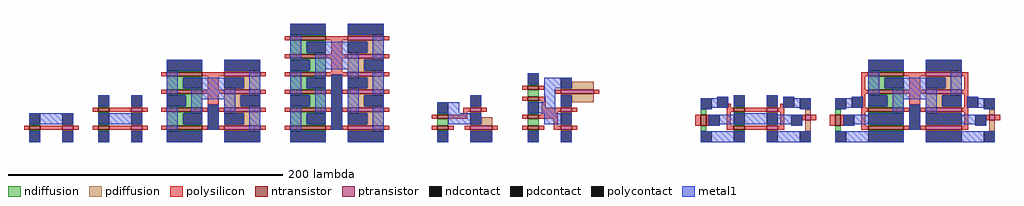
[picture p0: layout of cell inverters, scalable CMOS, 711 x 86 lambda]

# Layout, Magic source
magic
tech scmos
use s_inv s_inv_0
transform 1 0 -105 0 1 -413
box 63 428 105 449
use m_inv m_inv_0
transform 1 0 -83 0 1 -530
box 90 545 134 579
use l_inv l_inv_0
transform 1 0 -338 0 1 -470
box 396 484 474 546
use h_inv h_inv_0
transform 1 0 96 0 1 15
box 52 -1 130 87
use s_inv_rhi s_inv_rhi_0
transform 1 0 276 0 1 -21
box -21 36 28 70
use m_inv_rhi m_inv_rhi_0
transform 1 0 221 0 1 8
box 99 7 157 57
use m_inv_staticizer m_inv_staticizer_0
transform 1 0 372 0 1 -53
box 75 67 165 103
use l_inv_staticizer l_inv_staticizer_0
transform 1 0 461 0 1 -47
box 84 61 210 123
<< end >>

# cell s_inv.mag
magic
tech scmos
<< ndiffusion >>
rect 68 440 76 441
rect 68 436 76 437
<< pdiffusion >>
rect 92 440 100 441
rect 92 436 100 437
<< ntransistor >>
rect 68 437 76 440
<< ptransistor >>
rect 92 437 100 440
<< polysilicon >>
rect 64 437 68 440
rect 76 437 92 440
rect 100 437 104 440
<< ndcontact >>
rect 68 441 76 449
rect 68 428 76 436
<< pdcontact >>
rect 92 441 100 449
rect 92 428 100 436
<< metal1 >>
rect 68 441 100 449
rect 68 428 76 436
rect 92 428 100 436
<< labels >>
rlabel polysilicon 101 439 101 439 7 a
rlabel polysilicon 67 439 67 439 3 a
rlabel ndcontact 72 432 72 432 2 GND!
rlabel pdcontact 96 432 96 432 8 Vdd!
rlabel pdcontact 96 445 96 445 6 x
rlabel ndcontact 72 445 72 445 4 x
rlabel space 63 428 68 449 7 ^n
rlabel space 100 428 105 449 3 ^p
<< end >>

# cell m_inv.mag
magic
tech scmos
<< ndiffusion >>
rect 96 570 104 571
rect 96 566 104 567
rect 96 557 104 558
rect 96 553 104 554
<< pdiffusion >>
rect 120 570 128 571
rect 120 566 128 567
rect 120 557 128 558
rect 120 553 128 554
<< ntransistor >>
rect 96 567 104 570
rect 96 554 104 557
<< ptransistor >>
rect 120 567 128 570
rect 120 554 128 557
<< polysilicon >>
rect 92 567 96 570
rect 104 567 120 570
rect 128 567 132 570
rect 92 554 96 557
rect 104 554 120 557
rect 128 554 132 557
<< ndcontact >>
rect 96 571 104 579
rect 96 558 104 566
rect 96 545 104 553
<< pdcontact >>
rect 120 571 128 579
rect 120 558 128 566
rect 120 545 128 553
<< metal1 >>
rect 96 571 104 579
rect 120 571 128 579
rect 96 558 128 566
rect 96 545 104 553
rect 120 545 128 553
<< labels >>
rlabel ndcontact 100 562 100 562 1 x
rlabel pdcontact 124 562 124 562 1 x
rlabel polysilicon 129 568 129 568 7 a
rlabel polysilicon 129 556 129 556 7 a
rlabel ndcontact 100 549 100 549 1 GND!
rlabel pdcontact 124 549 124 549 1 Vdd!
rlabel pdcontact 124 575 124 575 5 Vdd!
rlabel ndcontact 100 575 100 575 5 GND!
rlabel space 90 545 96 579 7 ^n
rlabel space 128 545 134 579 3 ^p
rlabel polysilicon 95 568 95 568 3 a
rlabel polysilicon 95 555 95 555 3 a
<< end >>

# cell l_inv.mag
magic
tech scmos
<< ndiffusion >>
rect 401 536 427 537
rect 401 532 427 533
rect 401 524 413 532
rect 401 523 427 524
rect 401 519 427 520
rect 415 511 427 519
rect 401 510 427 511
rect 401 506 427 507
rect 401 498 413 506
rect 401 497 427 498
rect 401 493 427 494
<< pdiffusion >>
rect 443 536 469 537
rect 443 532 469 533
rect 457 524 469 532
rect 443 523 469 524
rect 443 519 469 520
rect 443 511 455 519
rect 443 510 469 511
rect 443 506 469 507
rect 457 498 469 506
rect 443 497 469 498
rect 443 493 469 494
<< ntransistor >>
rect 401 533 427 536
rect 401 520 427 523
rect 401 507 427 510
rect 401 494 427 497
<< ptransistor >>
rect 443 533 469 536
rect 443 520 469 523
rect 443 507 469 510
rect 443 494 469 497
<< polysilicon >>
rect 397 533 401 536
rect 427 533 443 536
rect 469 533 473 536
rect 431 523 439 533
rect 397 520 401 523
rect 427 520 443 523
rect 469 520 473 523
rect 431 512 439 520
rect 397 507 401 510
rect 427 507 431 510
rect 397 494 401 497
rect 427 494 431 497
rect 439 507 443 510
rect 469 507 473 510
rect 439 494 443 497
rect 469 494 473 497
<< ndcontact >>
rect 401 537 427 545
rect 413 524 427 532
rect 401 511 415 519
rect 413 498 427 506
rect 401 485 427 493
<< pdcontact >>
rect 443 537 469 545
rect 443 524 457 532
rect 455 511 469 519
rect 443 498 457 506
rect 443 485 469 493
<< polycontact >>
rect 431 494 439 512
<< metal1 >>
rect 401 537 427 545
rect 443 537 469 545
rect 401 519 409 537
rect 413 524 457 532
rect 401 511 415 519
rect 419 516 451 524
rect 461 519 469 537
rect 401 493 409 511
rect 419 506 427 516
rect 413 498 427 506
rect 431 494 439 512
rect 443 506 451 516
rect 455 511 469 519
rect 443 498 457 506
rect 461 493 469 511
rect 401 485 427 493
rect 443 485 469 493
<< labels >>
rlabel ndcontact 408 489 408 489 1 GND!
rlabel ndcontact 408 515 408 515 5 GND!
rlabel ndcontact 408 541 408 541 5 GND!
rlabel ndcontact 420 528 420 528 1 x
rlabel ndcontact 420 502 420 502 1 x
rlabel pdcontact 451 528 451 528 1 x
rlabel pdcontact 451 502 451 502 1 x
rlabel pdcontact 461 489 461 489 1 Vdd!
rlabel pdcontact 461 515 461 515 5 Vdd!
rlabel pdcontact 461 541 461 541 5 Vdd!
rlabel space 396 484 414 546 7 ^n
rlabel space 456 484 474 546 3 ^p
rlabel metal1 435 503 435 503 1 a
<< end >>

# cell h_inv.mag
magic
tech scmos
<< ndiffusion >>
rect 57 77 83 78
rect 57 73 83 74
rect 57 65 69 73
rect 57 64 83 65
rect 57 60 83 61
rect 71 52 83 60
rect 57 51 83 52
rect 57 47 83 48
rect 57 39 69 47
rect 57 38 83 39
rect 57 34 83 35
rect 71 26 83 34
rect 57 25 83 26
rect 57 21 83 22
rect 57 13 69 21
rect 57 12 83 13
rect 57 8 83 9
<< pdiffusion >>
rect 99 77 125 78
rect 99 73 125 74
rect 113 65 125 73
rect 99 64 125 65
rect 99 60 125 61
rect 99 52 111 60
rect 99 51 125 52
rect 99 47 125 48
rect 113 39 125 47
rect 99 38 125 39
rect 99 34 125 35
rect 99 26 111 34
rect 99 25 125 26
rect 99 21 125 22
rect 113 13 125 21
rect 99 12 125 13
rect 99 8 125 9
<< ntransistor >>
rect 57 74 83 77
rect 57 61 83 64
rect 57 48 83 51
rect 57 35 83 38
rect 57 22 83 25
rect 57 9 83 12
<< ptransistor >>
rect 99 74 125 77
rect 99 61 125 64
rect 99 48 125 51
rect 99 35 125 38
rect 99 22 125 25
rect 99 9 125 12
<< polysilicon >>
rect 53 74 57 77
rect 83 74 99 77
rect 125 74 129 77
rect 87 64 95 74
rect 53 61 57 64
rect 83 61 99 64
rect 125 61 129 64
rect 87 51 95 61
rect 53 48 57 51
rect 83 49 99 51
rect 83 48 87 49
rect 53 35 57 38
rect 83 35 87 38
rect 53 22 57 25
rect 83 22 87 25
rect 53 9 57 12
rect 83 9 87 12
rect 95 48 99 49
rect 125 48 129 51
rect 95 35 99 38
rect 125 35 129 38
rect 95 22 99 25
rect 125 22 129 25
rect 95 9 99 12
rect 125 9 129 12
<< ndcontact >>
rect 57 78 83 86
rect 69 65 83 73
rect 57 52 71 60
rect 69 39 83 47
rect 57 26 71 34
rect 69 13 83 21
rect 57 0 83 8
<< pdcontact >>
rect 99 78 125 86
rect 99 65 113 73
rect 111 52 125 60
rect 99 39 113 47
rect 111 26 125 34
rect 99 13 113 21
rect 99 0 125 8
<< polycontact >>
rect 87 9 95 49
<< metal1 >>
rect 57 78 83 86
rect 99 78 125 86
rect 57 60 65 78
rect 69 65 113 73
rect 57 52 71 60
rect 75 53 107 65
rect 117 60 125 78
rect 57 34 65 52
rect 75 47 83 53
rect 69 39 83 47
rect 57 26 71 34
rect 57 8 65 26
rect 75 21 83 39
rect 69 13 83 21
rect 87 9 95 49
rect 99 47 107 53
rect 111 52 125 60
rect 99 39 113 47
rect 99 21 107 39
rect 117 34 125 52
rect 111 26 125 34
rect 99 13 113 21
rect 117 8 125 26
rect 57 0 83 8
rect 99 0 125 8
<< labels >>
rlabel ndcontact 75 43 75 43 1 x
rlabel ndcontact 75 17 75 17 1 x
rlabel ndcontact 75 69 75 69 1 x
rlabel ndcontact 65 30 65 30 5 GND!
rlabel ndcontact 65 56 65 56 5 GND!
rlabel ndcontact 65 82 65 82 5 GND!
rlabel ndcontact 65 4 65 4 1 GND!
rlabel space 52 -1 70 87 7 ^n
rlabel pdcontact 107 43 107 43 1 x
rlabel pdcontact 107 17 107 17 1 x
rlabel pdcontact 107 69 107 69 1 x
rlabel pdcontact 117 4 117 4 1 Vdd!
rlabel pdcontact 117 30 117 30 5 Vdd!
rlabel pdcontact 117 56 117 56 5 Vdd!
rlabel pdcontact 117 82 117 82 5 Vdd!
rlabel space 112 -1 130 87 3 ^p
rlabel metal1 91 29 91 29 1 a
<< end >>

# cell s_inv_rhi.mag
magic
tech scmos
<< ndiffusion >>
rect -16 56 -8 57
rect -16 48 -8 53
rect -16 44 -8 45
<< pdiffusion >>
rect 8 61 16 62
rect 8 57 16 58
rect 16 49 24 54
rect 8 48 24 49
rect 8 44 24 45
<< ntransistor >>
rect -16 53 -8 56
rect -16 45 -8 48
<< ptransistor >>
rect 8 58 16 61
rect 8 45 24 48
<< polysilicon >>
rect 3 58 8 61
rect 16 58 20 61
rect 3 56 6 58
rect -20 53 -16 56
rect -8 53 6 56
rect -20 45 -16 48
rect -8 45 -4 48
rect 4 45 8 48
rect 24 45 28 48
<< ndcontact >>
rect -16 57 -8 65
rect -16 36 -8 44
<< pdcontact >>
rect 8 62 16 70
rect 8 49 16 57
rect 8 36 24 44
<< metal1 >>
rect -16 57 0 65
rect 8 62 16 70
rect -8 49 16 57
rect -16 36 -8 44
rect 8 36 24 44
<< labels >>
rlabel pdcontact 12 40 12 40 5 Vdd!
rlabel ndcontact -12 61 -12 61 4 x
rlabel ndcontact -12 40 -12 40 5 GND!
rlabel space -21 36 -16 65 7 ^n
rlabel polysilicon 17 60 17 60 7 a
rlabel pdcontact 12 66 12 66 5 Vdd!
rlabel pdcontact 12 53 12 53 7 x
rlabel polysilicon -17 54 -17 54 3 a
rlabel polysilicon -17 46 -17 46 3 _SReset!
rlabel polysilicon 25 46 25 46 1 _PReset!
rlabel space 16 56 21 70 3 ^p
<< end >>

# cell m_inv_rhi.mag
magic
tech scmos
<< ndiffusion >>
rect 105 48 113 49
rect 105 40 113 45
rect 105 36 113 37
rect 105 27 113 28
rect 105 19 113 24
rect 105 15 113 16
<< pdiffusion >>
rect 137 46 153 51
rect 129 45 153 46
rect 129 41 153 42
rect 137 36 153 41
rect 129 32 137 33
rect 129 28 137 29
rect 129 19 137 20
rect 129 15 137 16
<< ntransistor >>
rect 105 45 113 48
rect 105 37 113 40
rect 105 24 113 27
rect 105 16 113 19
<< ptransistor >>
rect 129 42 153 45
rect 129 29 137 32
rect 129 16 137 19
<< polysilicon >>
rect 101 45 105 48
rect 113 45 117 48
rect 125 42 129 45
rect 153 42 157 45
rect 101 37 105 40
rect 113 37 118 40
rect 115 32 118 37
rect 115 29 129 32
rect 137 29 141 32
rect 115 27 127 29
rect 101 24 105 27
rect 113 24 127 27
rect 124 19 127 24
rect 101 16 105 19
rect 113 16 117 19
rect 124 16 129 19
rect 137 16 141 19
<< ndcontact >>
rect 105 49 113 57
rect 105 28 113 36
rect 105 7 113 15
<< pdcontact >>
rect 129 46 137 54
rect 129 33 137 41
rect 129 20 137 28
rect 129 7 137 15
<< metal1 >>
rect 105 49 113 57
rect 117 46 137 54
rect 117 36 125 46
rect 105 28 125 36
rect 129 33 137 41
rect 117 20 137 28
rect 105 7 113 15
rect 129 7 137 15
<< labels >>
rlabel polysilicon 104 17 104 17 3 _SReset!
rlabel polysilicon 104 47 104 47 3 _SReset!
rlabel ndcontact 109 32 109 32 1 x
rlabel ndcontact 109 53 109 53 5 GND!
rlabel ndcontact 109 11 109 11 1 GND!
rlabel polysilicon 104 25 104 25 3 a
rlabel pdcontact 133 24 133 24 1 x
rlabel space 99 7 105 57 7 ^n
rlabel pdcontact 133 50 133 50 5 x
rlabel polysilicon 138 31 138 31 7 a
rlabel pdcontact 132 11 132 11 1 Vdd!
rlabel pdcontact 133 37 133 37 5 Vdd!
rlabel polysilicon 104 38 104 38 3 a
rlabel polysilicon 138 17 138 17 3 a
rlabel space 137 7 142 34 3 ^p
rlabel polysilicon 154 43 154 43 1 _PReset!
<< end >>

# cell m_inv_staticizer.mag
magic
tech scmos
<< ndiffusion >>
rect 104 93 112 94
rect 80 88 84 92
rect 104 89 112 90
rect 104 80 112 81
rect 80 76 84 80
rect 104 76 112 77
<< pdiffusion >>
rect 128 93 136 94
rect 128 89 136 90
rect 128 80 136 81
rect 156 88 160 92
rect 128 76 136 77
rect 156 76 160 84
<< ntransistor >>
rect 104 90 112 93
rect 80 80 84 88
rect 104 77 112 80
<< ptransistor >>
rect 128 90 136 93
rect 156 84 160 88
rect 128 77 136 80
<< polysilicon >>
rect 100 93 102 96
rect 138 93 140 96
rect 99 90 104 93
rect 112 90 128 93
rect 136 90 141 93
rect 76 80 80 88
rect 84 80 86 88
rect 99 80 102 90
rect 138 80 141 90
rect 154 84 156 88
rect 160 84 164 88
rect 99 77 104 80
rect 112 77 128 80
rect 136 77 141 80
<< ndcontact >>
rect 80 92 88 100
rect 104 94 112 102
rect 104 81 112 89
rect 80 68 88 76
rect 104 68 112 76
<< pdcontact >>
rect 128 94 136 102
rect 152 92 160 100
rect 128 81 136 89
rect 128 68 136 76
rect 152 68 160 76
<< polycontact >>
rect 92 93 100 101
rect 140 93 148 101
rect 86 80 94 88
rect 146 80 154 88
<< metal1 >>
rect 92 100 100 101
rect 80 93 100 100
rect 104 94 112 102
rect 128 94 136 102
rect 140 100 148 101
rect 140 93 160 100
rect 80 92 88 93
rect 152 92 160 93
rect 104 88 136 89
rect 86 81 154 88
rect 86 80 94 81
rect 146 80 154 81
rect 80 68 112 76
rect 128 68 160 76
<< labels >>
rlabel ndcontact 108 85 108 85 1 x
rlabel pdcontact 132 85 132 85 1 x
rlabel ndcontact 108 72 108 72 1 GND!
rlabel pdcontact 132 72 132 72 1 Vdd!
rlabel pdcontact 132 98 132 98 5 Vdd!
rlabel ndcontact 108 98 108 98 5 GND!
rlabel metal1 84 72 84 72 1 GND!
rlabel metal1 156 72 156 72 1 Vdd!
rlabel space 75 67 105 103 7 ^n
rlabel space 135 67 165 103 3 ^p
rlabel metal1 144 97 144 97 5 _x
rlabel metal1 96 97 96 97 5 _x
<< end >>

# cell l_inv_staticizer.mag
magic
tech scmos
<< ndiffusion >>
rect 113 113 139 114
rect 113 109 139 110
rect 113 101 125 109
rect 113 100 139 101
rect 113 96 139 97
rect 127 88 139 96
rect 113 87 139 88
rect 89 82 93 86
rect 113 83 139 84
rect 113 74 139 75
rect 89 70 93 74
rect 113 70 139 71
<< pdiffusion >>
rect 155 113 181 114
rect 155 109 181 110
rect 169 101 181 109
rect 155 100 181 101
rect 155 96 181 97
rect 155 88 167 96
rect 155 87 181 88
rect 155 83 181 84
rect 155 74 181 75
rect 201 82 205 86
rect 155 70 181 71
rect 201 70 205 78
<< ntransistor >>
rect 113 110 139 113
rect 113 97 139 100
rect 113 84 139 87
rect 89 74 93 82
rect 113 71 139 74
<< ptransistor >>
rect 155 110 181 113
rect 155 97 181 100
rect 155 84 181 87
rect 201 78 205 82
rect 155 71 181 74
<< polysilicon >>
rect 108 110 113 113
rect 139 110 155 113
rect 181 110 186 113
rect 108 100 111 110
rect 143 100 151 110
rect 183 100 186 110
rect 108 97 113 100
rect 139 97 155 100
rect 181 97 186 100
rect 108 95 111 97
rect 109 87 111 95
rect 143 89 151 97
rect 108 84 113 87
rect 139 84 143 87
rect 85 74 89 82
rect 93 74 95 82
rect 108 74 111 84
rect 108 71 113 74
rect 139 71 143 74
rect 183 95 186 97
rect 183 87 185 95
rect 151 84 155 87
rect 181 84 186 87
rect 183 74 186 84
rect 199 78 201 82
rect 205 78 209 82
rect 151 71 155 74
rect 181 71 186 74
<< ndcontact >>
rect 113 114 139 122
rect 125 101 139 109
rect 89 86 97 94
rect 113 88 127 96
rect 113 75 139 83
rect 89 62 97 70
rect 113 62 139 70
<< pdcontact >>
rect 155 114 181 122
rect 155 101 169 109
rect 167 88 181 96
rect 197 86 205 94
rect 155 75 181 83
rect 155 62 181 70
rect 197 62 205 70
<< polycontact >>
rect 101 87 109 95
rect 95 74 103 82
rect 143 71 151 89
rect 185 87 193 95
rect 191 74 199 82
<< metal1 >>
rect 113 114 139 122
rect 155 114 181 122
rect 113 96 121 114
rect 125 101 169 109
rect 101 94 109 95
rect 89 87 109 94
rect 113 88 127 96
rect 131 93 163 101
rect 173 96 181 114
rect 89 86 97 87
rect 131 83 139 93
rect 113 82 139 83
rect 95 75 139 82
rect 95 74 103 75
rect 143 71 151 89
rect 155 83 163 93
rect 167 88 181 96
rect 185 94 193 95
rect 185 87 205 94
rect 197 86 205 87
rect 155 82 181 83
rect 155 75 199 82
rect 191 74 199 75
rect 89 62 139 70
rect 155 62 205 70
<< labels >>
rlabel ndcontact 131 105 131 105 1 x
rlabel ndcontact 121 79 121 79 1 x
rlabel ndcontact 121 66 121 66 1 GND!
rlabel ndcontact 121 92 121 92 5 GND!
rlabel ndcontact 121 118 121 118 5 GND!
rlabel metal1 93 66 93 66 1 GND!
rlabel metal1 105 91 105 91 1 _x
rlabel space 84 61 126 123 7 ^n
rlabel pdcontact 163 105 163 105 1 x
rlabel pdcontact 173 79 173 79 1 x
rlabel pdcontact 173 66 173 66 1 Vdd!
rlabel pdcontact 173 92 173 92 5 Vdd!
rlabel pdcontact 173 118 173 118 5 Vdd!
rlabel metal1 201 66 201 66 1 Vdd!
rlabel metal1 189 91 189 91 1 _x
rlabel space 168 61 210 123 3 ^p
rlabel metal1 147 80 147 80 1 _x
<< end >>
